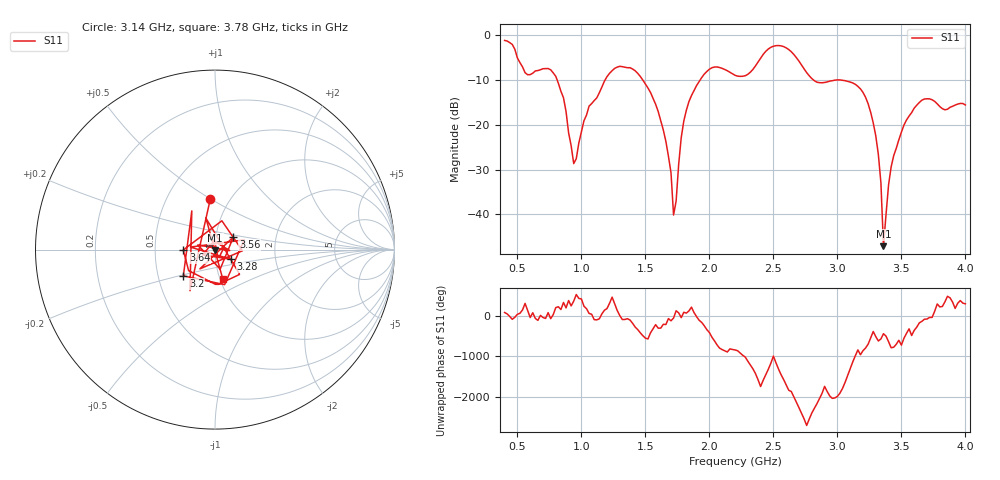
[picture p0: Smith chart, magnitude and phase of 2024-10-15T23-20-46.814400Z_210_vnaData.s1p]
! Created with skrf (http://scikit-rf.org).
# Hz S RI R 50.0
!freq ReS11 ImS11
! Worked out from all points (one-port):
!   181 points, 400 MHz to 4 GHz, reference 50 ohm
!   lowest |S11| = -47.1 dB at 3.36 GHz (marker M1), VSWR 1.01, Z = 50 - j0.439 ohm
!   |S11| at or under -10 dB: 810.2 MHz to 1.185 GHz (375.1 MHz wide, 37.6 % of centre); 1.479 GHz to 1.928 GHz (448.6 MHz wide, 26.3 % of centre); 3.02 GHz to end of sweep (the widest 3 of 4)
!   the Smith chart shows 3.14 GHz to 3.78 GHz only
!   S11 on the Smith chart (normalised r, x): 3.14 GHz: 0.81, +0.50; 3.2 GHz: 0.67, -0.21; 3.28 GHz: 1.19, -0.13; 3.56 GHz: 1.22, +0.17; 3.64 GHz: 0.70, -0.00; 3.78 GHz: 1.03, -0.35
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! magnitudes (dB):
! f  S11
! 400 MHz  -1.2
! 580 MHz  -8.8
! 760 MHz  -7.7
! 860 MHz  -14.0
! 940 MHz  -28.7
! 1.06 GHz  -15.8
! 1.3 GHz  -7.0
! 1.58 GHz  -15.4
! 1.68 GHz  -27.0
! 1.72 GHz  -40.2
! 1.76 GHz  -28.8
! 1.82 GHz  -16.8
! 1.92 GHz  -10.3
! 2.2 GHz  -9.0
! 2.5 GHz  -2.5
! 2.66 GHz  -4.3
! 2.84 GHz  -10.5
! 3.1 GHz  -10.5
! 3.14 GHz  -11.0
! 3.2 GHz  -12.8
! 3.28 GHz  -19.6
! 3.34 GHz  -33.0
! 3.36 GHz  -47.1
! 3.42 GHz  -29.4
! 3.56 GHz  -18.1
! 3.64 GHz  -15.0
! 3.78 GHz  -15.3
! 4 GHz  -15.6
